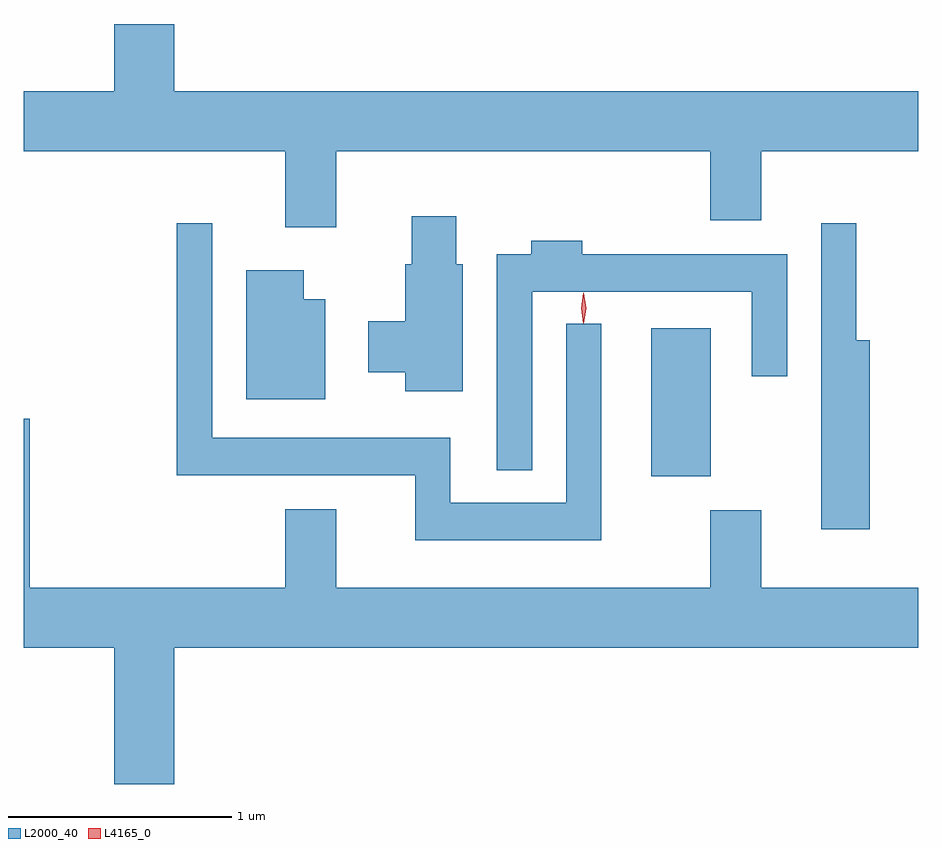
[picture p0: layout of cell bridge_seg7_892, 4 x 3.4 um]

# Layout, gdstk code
import gdstk
lib = gdstk.Library(unit=1e-6, precision=1e-09)
def R(c, l, rs):  # rectangles x0, y0, x1, y1
    for r in rs: c.add(gdstk.rectangle(r[:2], r[2:], *l))
def P(c, l, *ps):  # polygons
    for p in ps: c.add(gdstk.Polygon(p, *l))
L2000_40 = (2000, 40)
L4165_0 = (4165, 0)

bridge_seg7_892 = lib.new_cell('bridge_seg7_892')
R(bridge_seg7_892, L2000_40, [(417.276,1706.201,417.544,1706.864)])
P(bridge_seg7_892, L2000_40, [(415.869,1707.656),(417.541,1707.656),(417.541,1707.346),(417.769,1707.346),(417.769,1707.656),(418.471,1707.656),(418.471,1707.924),(415.144,1707.924),(415.144,1708.224),(414.876,1708.224),(414.876,1707.924),(414.471,1707.924),(414.471,1707.656),(415.641,1707.656),(415.641,1707.316),(415.869,1707.316)],
  [(416.434,1707.149),(416.404,1707.149),(416.404,1707.364),(416.206,1707.364),(416.206,1707.149),(416.176,1707.149),(416.176,1706.894),(416.011,1706.894),(416.011,1706.666),(416.176,1706.666),(416.176,1706.581),(416.434,1706.581)],
  [(417.054,1706.883),(416.896,1706.883),(416.896,1706.084),(416.379,1706.084),(416.379,1706.374),(415.314,1706.374),(415.314,1707.333),(415.156,1707.333),(415.156,1706.206),(416.221,1706.206),(416.221,1705.916),(417.054,1705.916)],
  [(418.254,1706.809),(418.194,1706.809),(418.194,1707.333),(418.036,1707.333),(418.036,1705.966),(418.254,1705.966)],
  [(416.744,1707.026),(417.726,1707.026),(417.726,1706.648),(417.884,1706.648),(417.884,1707.194),(416.969,1707.194),(416.969,1707.254),(416.741,1707.254),(416.741,1707.194),(416.586,1707.194),(416.586,1706.228),(416.744,1706.228)],
  [(415.819,1706.994),(415.724,1706.994),(415.724,1707.124),(415.466,1707.124),(415.466,1706.546),(415.819,1706.546)],
  [(415.144,1705.436),(418.471,1705.436),(418.471,1705.704),(417.769,1705.704),(417.769,1706.049),(417.541,1706.049),(417.541,1705.704),(415.869,1705.704),(415.869,1706.054),(415.641,1706.054),(415.641,1705.704),(414.499,1705.704),(414.499,1706.459),(414.471,1706.459),(414.471,1705.436),(414.876,1705.436),(414.876,1704.826),(415.144,1704.826)])
P(bridge_seg7_892, L4165_0, [(416.975,1706.884),(416.966,1706.953),(416.975,1707.022),(416.976,1707.023),(416.976,1707.022),(416.986,1706.953),(416.976,1706.884),(416.976,1706.884)],
  [(416.972,1706.887),(416.963,1706.954),(416.972,1707.02),(416.972,1707.02),(416.973,1707.02),(416.983,1706.954),(416.973,1706.887),(416.973,1706.887)])

lib.write_gds('bridge_seg7_892.gds')
